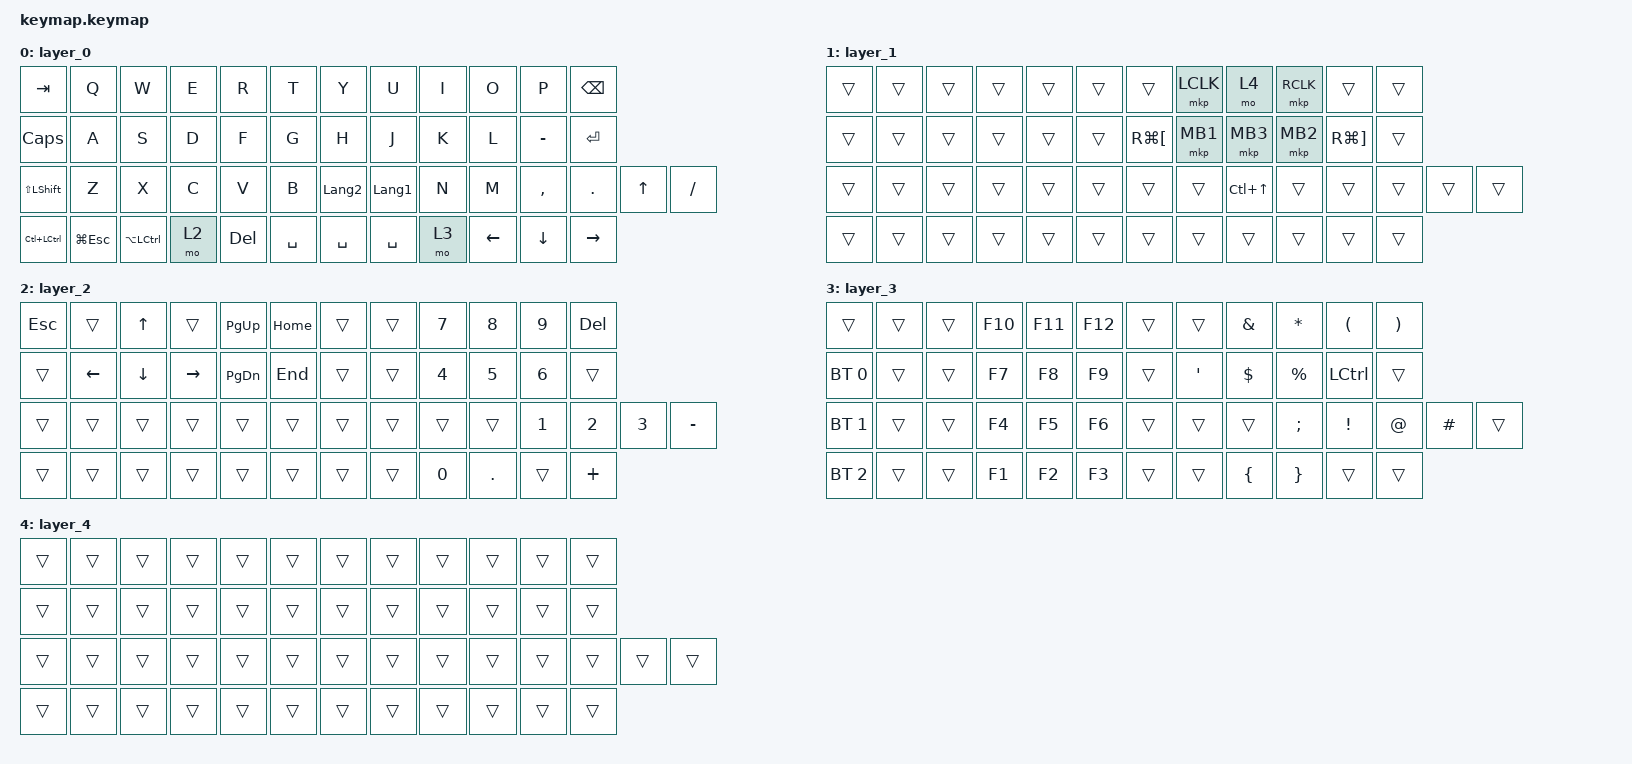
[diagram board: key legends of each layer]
#include <behaviors.dtsi>
#include <dt-bindings/zmk/bt.h>
#include <dt-bindings/zmk/keys.h>
#include <dt-bindings/zmk/pointing.h>

/ {
    combos {
        compatible = "zmk,combos";

        bt_clear {
            bindings = <&bt BT_CLR>;
            key-positions = <28 29>;
            layers = <2>;
        };
    };

    keymap {
        compatible = "zmk,keymap";

        layer_0 {
            bindings = <
&kp TAB        &kp Q           &kp W                 &kp E  &kp R       &kp T      &kp Y           &kp U           &kp I  &kp O           &kp P           &kp BSPC
&kp CAPSLOCK   &kp A           &kp S                 &kp D  &kp F       &kp G      &kp H           &kp J           &kp K  &kp L           &kp MINUS       &kp ENTER
&kp LS(LSHFT)  &kp Z           &kp X                 &kp C  &kp V       &kp B      &kp LANGUAGE_2  &kp LANGUAGE_1  &kp N  &kp M           &kp COMMA       &kp DOT          &kp UP_ARROW  &kp SLASH
&kp LC(LCTRL)  &kp LG(ESCAPE)  &kp LA(LEFT_CONTROL)  &mo 2  &kp DELETE  &kp SPACE  &kp SPACE       &kp SPACE       &mo 3  &kp LEFT_ARROW  &kp DOWN_ARROW  &kp RIGHT_ARROW
            >;
        };

        layer_1 {
            bindings = <
&trans  &trans  &trans  &trans  &trans  &trans  &trans                &mkp LCLK  &mo 4             &mkp RCLK  &trans                 &trans
&trans  &trans  &trans  &trans  &trans  &trans  &kp RG(LEFT_BRACKET)  &mkp MB1   &mkp MB3          &mkp MB2   &kp RG(RIGHT_BRACKET)  &trans
&trans  &trans  &trans  &trans  &trans  &trans  &trans                &trans     &kp LC(UP_ARROW)  &trans     &trans                 &trans  &trans  &trans
&trans  &trans  &trans  &trans  &trans  &trans  &trans                &trans     &trans            &trans     &trans                 &trans
            >;
        };

        layer_2 {
            bindings = <
&kp ESCAPE  &trans    &kp UP    &trans     &kp PAGE_UP    &kp HOME  &trans  &trans  &kp N7  &kp N8      &kp N9  &kp DELETE
&trans      &kp LEFT  &kp DOWN  &kp RIGHT  &kp PAGE_DOWN  &kp END   &trans  &trans  &kp N4  &kp N5      &kp N6  &trans
&trans      &trans    &trans    &trans     &trans         &trans    &trans  &trans  &trans  &trans      &kp N1  &kp N2      &kp N3  &kp MINUS
&trans      &trans    &trans    &trans     &trans         &trans    &trans  &trans  &kp N0  &kp PERIOD  &trans  &kp PLUS
            >;
        };

        layer_3 {
            bindings = <
&trans        &trans  &trans  &kp F10  &kp F11  &kp F12  &trans  &trans   &kp AMPERSAND   &kp ASTERISK     &kp LEFT_PARENTHESIS  &kp RIGHT_PARENTHESIS
&bt BT_SEL 0  &trans  &trans  &kp F7   &kp F8   &kp F9   &trans  &kp SQT  &kp DOLLAR      &kp PERCENT      &kp LCTRL             &trans
&bt BT_SEL 1  &trans  &trans  &kp F4   &kp F5   &kp F6   &trans  &trans   &trans          &kp SEMICOLON    &kp EXCLAMATION       &kp AT_SIGN            &kp POUND  &trans
&bt BT_SEL 2  &trans  &trans  &kp F1   &kp F2   &kp F3   &trans  &trans   &kp LEFT_BRACE  &kp RIGHT_BRACE  &trans                &trans
            >;
        };

        layer_4 {
            bindings = <
&trans  &trans  &trans  &trans  &trans  &trans  &trans  &trans  &trans  &trans  &trans  &trans
&trans  &trans  &trans  &trans  &trans  &trans  &trans  &trans  &trans  &trans  &trans  &trans
&trans  &trans  &trans  &trans  &trans  &trans  &trans  &trans  &trans  &trans  &trans  &trans  &trans  &trans
&trans  &trans  &trans  &trans  &trans  &trans  &trans  &trans  &trans  &trans  &trans  &trans
            >;
        };
    };
};
